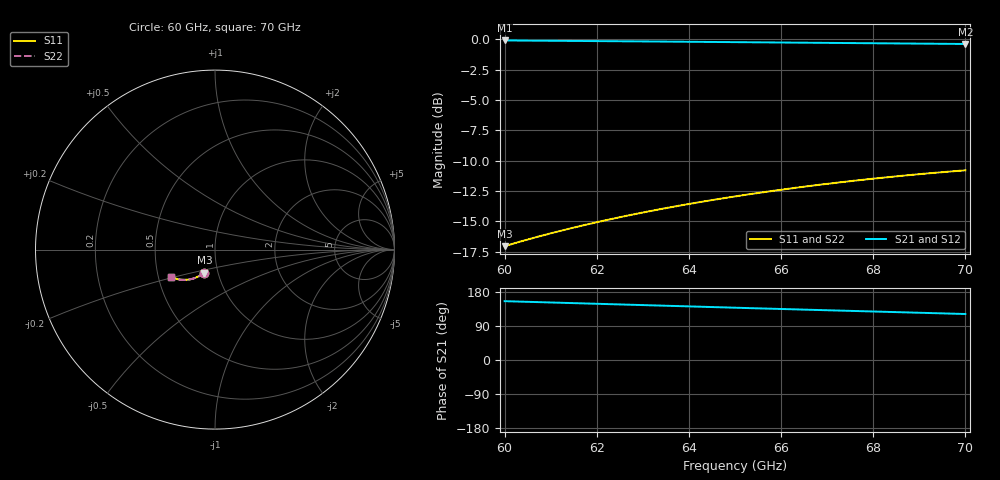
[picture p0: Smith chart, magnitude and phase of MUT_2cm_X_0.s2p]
! TOUCHSTONE file generated by CST MICROWAVE STUDIO
! Date and time: Tue Feb 27 21:04:15 2024
! Project name: material_angular.cst
! Parameters = {exis2=0; exis=5; X=5; Z=5; Y=2}
! Header version: 2018
! Port assignment regex: !\s*Touchstone port\s*([0-9]+)\s*=\s*(CST MWS port|CST DS port)\s*([0-9]+|Zmin|Zmax)\s*\(\"(.*)\"\)(\s*mode\s*([0-9]+))?.*
! Touchstone port assignment:
! Touchstone port 1 = CST MWS port 1 ("")
! Touchstone port 2 = CST MWS port 2 ("")
# GHz S MA R 376.7
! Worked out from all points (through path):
!   1001 points, 60 GHz to 70 GHz, reference 376.7 ohm
!   highest |S21| = -0.09 dB at 60 GHz (marker M1); lowest = -0.4 dB at 70 GHz (marker M2)
!   group delay of S21, straight-line fit = 9.41 ps
!   lowest |S11| = -17.0 dB at 60 GHz (marker M3), VSWR 1.33, Z = 325 - j84.5 ohm
!   |S11| at or under -10 dB: start of sweep to end of sweep
!   |S22| runs from -17.0 to -10.8 dB; largest |S21 - S12| = 0.0005
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60  0.1406 -114.8  0.99 155.2  0.9899 155.3  0.1406 -114.7
60.05  0.1415 -115.0  0.9899 155.1  0.9898 155.1  0.1416 -114.8
60.45  0.1488 -116.4  0.9888 153.7  0.9886 153.7  0.1489 -116.2
60.87  0.1565 -117.8  0.9876 152.2  0.9874 152.2  0.1565 -117.7
61.26  0.1634 -119.2  0.9865 150.8  0.9863 150.8  0.1635 -119.1
61.67  0.1707 -120.6  0.9853 149.4  0.9851 149.4  0.1707 -120.5
62.07  0.1777 -122.0  0.9841 148.0  0.9839 148.0  0.1777 -121.9
62.49  0.1849 -123.5  0.9827 146.6  0.9827 146.6  0.1849 -123.4
62.91  0.192 -124.9  0.9814 145.1  0.9813 145.1  0.192 -124.8
63.34  0.1991 -126.4  0.98 143.6  0.9799 143.7  0.1992 -126.3
63.74  0.2057 -127.8  0.9786 142.3  0.9786 142.3  0.2057 -127.7
64.15  0.2122 -129.2  0.9773 140.9  0.9772 140.9  0.2123 -129.1
64.57  0.2188 -130.6  0.9758 139.4  0.9758 139.4  0.2189 -130.6
65  0.2254 -132.0  0.9743 138.0  0.9743 138.0  0.2255 -132.0
65.82  0.2376 -134.8  0.9714 135.2  0.9714 135.2  0.2376 -134.8
66.67  0.2495 -137.6  0.9685 132.3  0.9684 132.3  0.2496 -137.6
67.5  0.2605 -140.4  0.9656 129.6  0.9656 129.6  0.2606 -140.4
68.34  0.2709 -143.2  0.9628 126.8  0.9627 126.8  0.2709 -143.2
68.8  0.2762 -144.7  0.9612 125.3  0.9612 125.3  0.2762 -144.7
69.24  0.281 -146.2  0.9598 123.8  0.9598 123.8  0.281 -146.2
69.95  0.2883 -148.5  0.9576 121.5  0.9575 121.5  0.2882 -148.5
70  0.2888 -148.6  0.9575 121.4  0.9573 121.4  0.2887 -148.6
